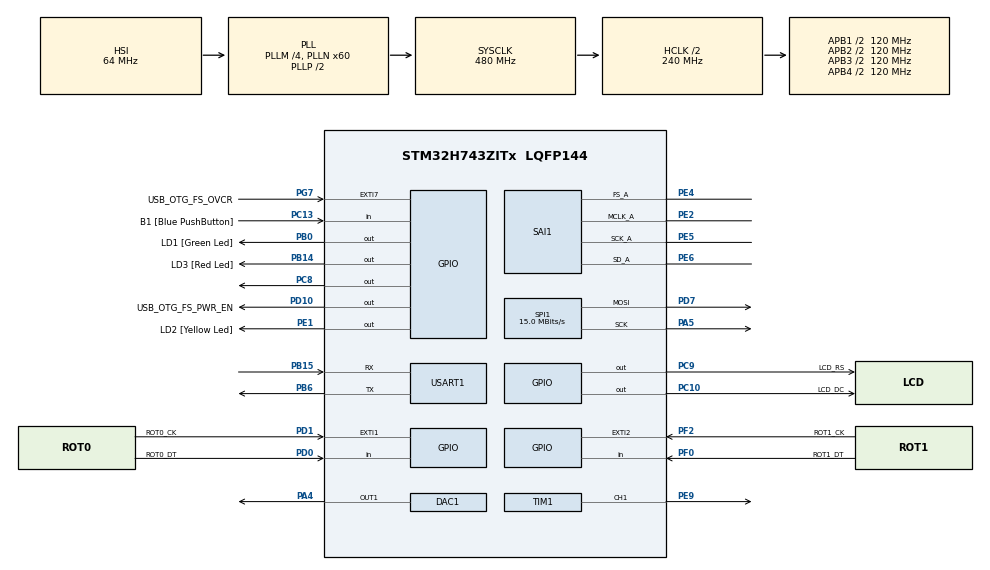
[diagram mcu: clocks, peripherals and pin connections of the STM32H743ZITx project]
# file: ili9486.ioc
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DAC1.DAC_Trigger-DAC_OUT1=DAC_TRIGGER_T6_TRGO
Dma.DAC1_CH1.2.Direction=DMA_MEMORY_TO_PERIPH
Dma.DAC1_CH1.2.EventEnable=DISABLE
Dma.DAC1_CH1.2.FIFOMode=DMA_FIFOMODE_DISABLE
Dma.DAC1_CH1.2.Instance=DMA1_Stream1
Dma.DAC1_CH1.2.MemDataAlignment=DMA_MDATAALIGN_HALFWORD
Dma.DAC1_CH1.2.MemInc=DMA_MINC_ENABLE
Dma.DAC1_CH1.2.Mode=DMA_CIRCULAR
Dma.DAC1_CH1.2.PeriphDataAlignment=DMA_PDATAALIGN_HALFWORD
Dma.DAC1_CH1.2.PeriphInc=DMA_PINC_DISABLE
Dma.DAC1_CH1.2.Polarity=HAL_DMAMUX_REQ_GEN_RISING
Dma.DAC1_CH1.2.Priority=DMA_PRIORITY_LOW
Dma.DAC1_CH1.2.RequestNumber=1
Dma.DAC1_CH1.2.SignalID=NONE
Dma.DAC1_CH1.2.SyncEnable=DISABLE
Dma.DAC1_CH1.2.SyncPolarity=HAL_DMAMUX_SYNC_NO_EVENT
Dma.DAC1_CH1.2.SyncRequestNumber=1
Dma.DAC1_CH1.2.SyncSignalID=NONE
Dma.Request0=SPI1_TX
Dma.Request1=SAI1_A
Dma.Request2=DAC1_CH1
Dma.SAI1_A.1.Direction=DMA_PERIPH_TO_MEMORY
Dma.SAI1_A.1.EventEnable=DISABLE
Dma.SAI1_A.1.FIFOMode=DMA_FIFOMODE_ENABLE
Dma.SAI1_A.1.FIFOThreshold=DMA_FIFO_THRESHOLD_1QUARTERFULL
Dma.SAI1_A.1.Instance=DMA2_Stream0
Dma.SAI1_A.1.MemBurst=DMA_MBURST_SINGLE
Dma.SAI1_A.1.MemDataAlignment=DMA_MDATAALIGN_WORD
Dma.SAI1_A.1.MemInc=DMA_MINC_ENABLE
Dma.SAI1_A.1.Mode=DMA_CIRCULAR
Dma.SAI1_A.1.PeriphBurst=DMA_PBURST_SINGLE
Dma.SAI1_A.1.PeriphDataAlignment=DMA_PDATAALIGN_WORD
Dma.SAI1_A.1.PeriphInc=DMA_PINC_DISABLE
Dma.SAI1_A.1.Polarity=HAL_DMAMUX_REQ_GEN_RISING
Dma.SAI1_A.1.Priority=DMA_PRIORITY_LOW
Dma.SAI1_A.1.RequestNumber=1
Dma.SAI1_A.1.SignalID=NONE
Dma.SAI1_A.1.SyncEnable=DISABLE
Dma.SAI1_A.1.SyncPolarity=HAL_DMAMUX_SYNC_NO_EVENT
Dma.SAI1_A.1.SyncRequestNumber=1
Dma.SAI1_A.1.SyncSignalID=NONE
Dma.SPI1_TX.0.Direction=DMA_MEMORY_TO_PERIPH
Dma.SPI1_TX.0.EventEnable=DISABLE
Dma.SPI1_TX.0.FIFOMode=DMA_FIFOMODE_ENABLE
Dma.SPI1_TX.0.FIFOThreshold=DMA_FIFO_THRESHOLD_1QUARTERFULL
Dma.SPI1_TX.0.Instance=DMA1_Stream0
Dma.SPI1_TX.0.MemBurst=DMA_MBURST_INC4
Dma.SPI1_TX.0.MemDataAlignment=DMA_MDATAALIGN_BYTE
Dma.SPI1_TX.0.MemInc=DMA_MINC_ENABLE
Dma.SPI1_TX.0.Mode=DMA_NORMAL
Dma.SPI1_TX.0.PeriphBurst=DMA_PBURST_SINGLE
Dma.SPI1_TX.0.PeriphDataAlignment=DMA_PDATAALIGN_BYTE
Dma.SPI1_TX.0.PeriphInc=DMA_PINC_DISABLE
Dma.SPI1_TX.0.Polarity=HAL_DMAMUX_REQ_GEN_RISING
Dma.SPI1_TX.0.Priority=DMA_PRIORITY_LOW
Dma.SPI1_TX.0.RequestNumber=1
Dma.SPI1_TX.0.SignalID=NONE
Dma.SPI1_TX.0.SyncEnable=DISABLE
Dma.SPI1_TX.0.SyncPolarity=HAL_DMAMUX_SYNC_NO_EVENT
Dma.SPI1_TX.0.SyncRequestNumber=1
Dma.SPI1_TX.0.SyncSignalID=NONE
Mcu.Family=STM32H7
Mcu.Name=STM32H743ZITx
Mcu.Package=LQFP144
Mdma.MDMA_Channel0.Request0=SW
Mdma.MDMA_Channel0.RequestsNb=1
Mdma.MDMA_Channel0.SW.0.BlockCount=0
Mdma.MDMA_Channel0.SW.0.BlockDataLength=0
Mdma.MDMA_Channel0.SW.0.BufferTransferLength=32
Mdma.MDMA_Channel0.SW.0.CircularMode=MDMA_LINEAR_LIST
Mdma.MDMA_Channel0.SW.0.DataAlignment=MDMA_DATAALIGN_PACKENABLE
Mdma.MDMA_Channel0.SW.0.DestBlockAddressOffset=0
Mdma.MDMA_Channel0.SW.0.DestBurst=MDMA_DEST_BURST_SINGLE
Mdma.MDMA_Channel0.SW.0.DestDataSize=MDMA_DEST_DATASIZE_WORD
Mdma.MDMA_Channel0.SW.0.DestinationInc=MDMA_DEST_INC_WORD
Mdma.MDMA_Channel0.SW.0.DstAddress=0
Mdma.MDMA_Channel0.SW.0.Endianness=MDMA_LITTLE_ENDIANNESS_PRESERVE
Mdma.MDMA_Channel0.SW.0.Instance=MDMA_Channel0
Mdma.MDMA_Channel0.SW.0.MaskAddress=0
Mdma.MDMA_Channel0.SW.0.MaskData=0
Mdma.MDMA_Channel0.SW.0.Priority=MDMA_PRIORITY_LOW
Mdma.MDMA_Channel0.SW.0.Rank=First
Mdma.MDMA_Channel0.SW.0.SourceBlockAddressOffset=0
Mdma.MDMA_Channel0.SW.0.SourceBurst=MDMA_SOURCE_BURST_SINGLE
Mdma.MDMA_Channel0.SW.0.SourceDataSize=MDMA_SRC_DATASIZE_WORD
Mdma.MDMA_Channel0.SW.0.SourceInc=MDMA_SRC_INC_DOUBLEWORD
Mdma.MDMA_Channel0.SW.0.SrcAddress=0
Mdma.MDMA_Channel0.SW.0.TransferTriggerMode=MDMA_BLOCK_TRANSFER
Mdma.MDMA_Channel1.Request0=SW
Mdma.MDMA_Channel1.RequestsNb=1
Mdma.MDMA_Channel1.SW.0.BlockCount=0
Mdma.MDMA_Channel1.SW.0.BlockDataLength=0
Mdma.MDMA_Channel1.SW.0.BufferTransferLength=32
Mdma.MDMA_Channel1.SW.0.CircularMode=MDMA_LINEAR_LIST
Mdma.MDMA_Channel1.SW.0.DataAlignment=MDMA_DATAALIGN_PACKENABLE
Mdma.MDMA_Channel1.SW.0.DestBlockAddressOffset=0
Mdma.MDMA_Channel1.SW.0.DestBurst=MDMA_DEST_BURST_SINGLE
Mdma.MDMA_Channel1.SW.0.DestDataSize=MDMA_DEST_DATASIZE_WORD
Mdma.MDMA_Channel1.SW.0.DestinationInc=MDMA_DEST_INC_WORD
Mdma.MDMA_Channel1.SW.0.DstAddress=0
Mdma.MDMA_Channel1.SW.0.Endianness=MDMA_LITTLE_ENDIANNESS_PRESERVE
Mdma.MDMA_Channel1.SW.0.Instance=MDMA_Channel1
Mdma.MDMA_Channel1.SW.0.MaskAddress=0
Mdma.MDMA_Channel1.SW.0.MaskData=0
Mdma.MDMA_Channel1.SW.0.Priority=MDMA_PRIORITY_LOW
Mdma.MDMA_Channel1.SW.0.Rank=First
Mdma.MDMA_Channel1.SW.0.SourceBlockAddressOffset=0
Mdma.MDMA_Channel1.SW.0.SourceBurst=MDMA_SOURCE_BURST_SINGLE
Mdma.MDMA_Channel1.SW.0.SourceDataSize=MDMA_SRC_DATASIZE_WORD
Mdma.MDMA_Channel1.SW.0.SourceInc=MDMA_SRC_INC_DOUBLEWORD
Mdma.MDMA_Channel1.SW.0.SrcAddress=0
Mdma.MDMA_Channel1.SW.0.TransferTriggerMode=MDMA_BLOCK_TRANSFER
Mdma.RequestSet0=MDMA_Channel0
Mdma.RequestSet1=MDMA_Channel1
Mdma.RequestSetsNb=2
NVIC.DMA1_Stream0_IRQn=true\:0\:0\:false\:false\:true\:false\:true
NVIC.DMA1_Stream1_IRQn=true\:0\:0\:false\:false\:true\:false\:true
NVIC.DMA2_Stream0_IRQn=true\:0\:0\:false\:false\:true\:false\:true
NVIC.PriorityGroup=NVIC_PRIORITYGROUP_4
NVIC.SPI1_IRQn=true\:0\:0\:false\:false\:true\:false\:true
PA1.Signal=ETH_REF_CLK
PA11.Signal=USB_OTG_FS_DM
PA12.Signal=USB_OTG_FS_DP
PA13\ (JTMS/SWDIO).Mode=Serial_Wire
PA13\ (JTMS/SWDIO).Signal=DEBUG_JTMS-SWDIO
PA14\ (JTCK/SWCLK).Mode=Serial_Wire
PA14\ (JTCK/SWCLK).Signal=DEBUG_JTCK-SWCLK
PA2.Signal=ETH_MDIO
PA4.Signal=COMP_DAC11_group
PA5.GPIO_PuPd=GPIO_NOPULL
PA5.GPIO_Speed=GPIO_SPEED_FREQ_HIGH
PA5.Mode=TX_Only_Simplex_Unidirect_Master
PA5.Signal=SPI1_SCK
PA7.Signal=ETH_CRS_DV
PA8.Signal=USB_OTG_FS_SOF
PA9.Signal=USB_OTG_FS_VBUS
PB0.GPIO_Label=LD1 [Green Led]
PB0.Signal=GPIO_Output
PB13.Signal=ETH_TXD1
PB14.GPIO_Label=LD3 [Red Led]
PB14.Signal=GPIO_Output
PB15.Mode=Asynchronous
PB15.Signal=USART1_RX
PB6.Mode=Asynchronous
PB6.Signal=USART1_TX
PC1.Signal=ETH_MDC
PC10.GPIO_Label=LCD_DC
PC10.Signal=GPIO_Output
PC13.GPIO_Label=B1 [Blue PushButton]
PC13.Signal=GPIO_Input
PC14-OSC32_IN\ (OSC32_IN).Signal=RCC_OSC32_IN
PC15-OSC32_OUT\ (OSC32_OUT).Signal=RCC_OSC32_OUT
PC4.Signal=ETH_RXD0
PC5.Signal=ETH_RXD1
PC8.Signal=GPIO_Output
PC9.GPIO_Label=LCD_RS
PC9.Signal=GPIO_Output
PD0.GPIO_Label=ROT0_DT
PD0.Signal=GPIO_Input
PD1.GPIO_Label=ROT0_CK
PD1.GPIO_ModeDefaultEXTI=GPIO_MODE_IT_FALLING
PD1.Signal=GPXTI1
PD10.GPIO_Label=USB_OTG_FS_PWR_EN
PD10.Signal=GPIO_Output
PD7.GPIO_PuPd=GPIO_NOPULL
PD7.GPIO_Speed=GPIO_SPEED_FREQ_HIGH
PD7.Mode=TX_Only_Simplex_Unidirect_Master
PD7.Signal=SPI1_MOSI
PD8.GPIO_Label=STLINK_RX
PD8.Signal=USART3_TX
PD9.GPIO_Label=STLINK_TX
PD9.Signal=USART3_RX
PE1.GPIO_Label=LD2 [Yellow Led]
PE1.Signal=GPIO_Output
PE2.Mode=SAI_A_MasterWithClock
PE2.Signal=SAI1_MCLK_A
PE4.Mode=SAI_A_MasterWithClock
PE4.Signal=SAI1_FS_A
PE5.Mode=SAI_A_MasterWithClock
PE5.Signal=SAI1_SCK_A
PE6.Mode=SAI_A_MasterWithClock
PE6.Signal=SAI1_SD_A
PE9.Signal=S_TIM1_CH1
PF0.GPIO_Label=ROT1_DT
PF0.Signal=GPIO_Input
PF2.GPIO_Label=ROT1_CK
PF2.GPIO_ModeDefaultEXTI=GPIO_MODE_IT_FALLING
PF2.Signal=GPXTI2
PG11.Signal=ETH_TX_EN
PG13.Signal=ETH_TXD0
PG7.GPIO_Label=USB_OTG_FS_OVCR
PG7.Signal=GPXTI7
PH0-OSC_IN\ (PH0).Signal=RCC_OSC_IN
PH1-OSC_OUT\ (PH1).Signal=RCC_OSC_OUT
ProjectManager.HeapSize=0x200
ProjectManager.StackSize=0x400
ProjectManager.TargetToolchain=Makefile
RCC.ADCFreq_Value=129000000
RCC.APB1Freq_Value=120000000
RCC.APB2Freq_Value=120000000
RCC.APB3Freq_Value=120000000
RCC.APB4Freq_Value=120000000
RCC.CortexFreq_Value=480000000
RCC.D1PPRE=RCC_APB3_DIV2
RCC.D2PPRE1=RCC_APB1_DIV2
RCC.D2PPRE2=RCC_APB2_DIV2
RCC.D3PPRE=RCC_APB4_DIV2
RCC.DIVM1=4
RCC.DIVN1=60
RCC.HCLKFreq_Value=240000000
RCC.HPRE=RCC_HCLK_DIV2
RCC.PLL2FRACN=0
RCC.PLL3FRACN=0
RCC.PLLFRACN=0
RCC.SAI1CLockSelection=RCC_SAI1CLKSOURCE_PLL3
RCC.SYSCLKFreq_VALUE=480000000
RCC.SYSCLKSource=RCC_SYSCLKSOURCE_PLLCLK
RCC.USBFreq_Value=480000000
SAI1.AudioFrequency-SAI_A_MasterWithClock=SAI_AUDIO_FREQUENCY_48K
SAI1.AudioMode-SAI_A_MasterWithClock=SAI_MODEMASTER_RX
SAI1.BasicDataSize-SAI_A_MasterWithClock=SAI_PROTOCOL_DATASIZE_24BIT
SAI1.BasicProtocol-SAI_A_MasterWithClock=SAI_I2S_MSBJUSTIFIED
SAI1.ErrorAudioFreq-SAI_A_MasterWithClock=4.97 %
SAI1.InitProtocol-SAI_A_MasterWithClock=Enable
SAI1.Instance-SAI_A_MasterWithClock=SAI$Index_Block_A
SAI1.MClockEnable-SAI_A_MasterWithClock=SAI_MASTERCLOCK_ENABLE
SAI1.RealAudioFreq-SAI_A_MasterWithClock=50.39 KHz
SAI1.VirtualMode-SAI_A_MasterWithClock=VM_MASTER
SAI1.VirtualProtocol-SAI_A_BASIC=VM_BASIC_PROTOCOL
SH.COMP_DAC11_group.0=DAC1_OUT1,DAC_OUT1
SH.S_TIM1_CH1.0=TIM1_CH1,Output Compare1 CH1
SPI1.BaudRatePrescaler=SPI_BAUDRATEPRESCALER_32
SPI1.CalculateBaudRate=15.0 MBits/s
SPI1.DataSize=SPI_DATASIZE_8BIT
SPI1.Direction=SPI_DIRECTION_2LINES_TXONLY
SPI1.Mode=SPI_MODE_MASTER
SPI1.VirtualType=VM_MASTER
TIM1.Channel-Output\ Compare1\ CH1=TIM_CHANNEL_1
TIM1.OCMode_1=TIM_OCMODE_TOGGLE
TIM1.Period=2500
TIM1.Prescaler=240
TIM1.Pulse-Output\ Compare1\ CH1=0
TIM1.RepetitionCounter=0
TIM1.TIM_MasterOutputTrigger=TIM_TRGO_OC1REF
TIM1.TIM_MasterSlaveMode=TIM_MASTERSLAVEMODE_DISABLE
TIM6.Period=1000
TIM6.Prescaler=10
TIM6.TIM_MasterOutputTrigger=TIM_TRGO_UPDATE
USART1.VirtualMode-Asynchronous=VM_ASYNC
VP_SAI1_VP_$IpInstance_SAIA_SAI_BASIC.Mode=SAI_A_BASIC
VP_TIM1_VS_ClockSourceINT.Mode=Internal
VP_TIM6_VS_ClockSourceINT.Mode=Enable_Timer
board=NUCLEO-H743ZI2

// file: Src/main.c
/* USER CODE BEGIN Header */
/**
  ******************************************************************************
  * @file           : main.c
  * @brief          : Main program body
  ******************************************************************************
  * @attention
  *
  * <h2><center>&copy; Copyright (c) 2019 STMicroelectronics.
  * All rights reserved.</center></h2>
  *
  * This software component is licensed by ST under BSD 3-Clause license,
  * the "License"; You may not use this file except in compliance with the
  * License. You may obtain a copy of the License at:
  *                        opensource.org/licenses/BSD-3-Clause
  *
  ******************************************************************************
  */
/* USER CODE END Header */

#include "main.h"

DAC_HandleTypeDef hdac1;
DMA_HandleTypeDef hdma_dac1_ch1;

SAI_HandleTypeDef hsai_BlockA1;
DMA_HandleTypeDef hdma_sai1_a;

SPI_HandleTypeDef hspi1;
DMA_HandleTypeDef hdma_spi1_tx;

TIM_HandleTypeDef htim1;
TIM_HandleTypeDef htim6;

UART_HandleTypeDef huart1;

MDMA_HandleTypeDef hmdma_mdma_channel40_sw_0;
MDMA_HandleTypeDef hmdma_mdma_channel41_sw_0;

void SystemClock_Config(void);
static void MX_GPIO_Init(void);
static void MX_DMA_Init(void);
static void MX_MDMA_Init(void);
static void MX_SPI1_Init(void);
static void MX_USART1_UART_Init(void);
static void MX_SAI1_Init(void);
static void MX_TIM1_Init(void);
static void MX_DAC1_Init(void);
static void MX_TIM6_Init(void);

/* USER CODE BEGIN 0 */
static void CPU_CACHE_Enable(void)
{
  /* Enable I-Cache */
  SCB_EnableICache();

  /* Enable D-Cache */
  SCB_EnableDCache();
}

static void EXTI_Init(void);
static void TIM_Init(void);
/* USER CODE END 0 */

int main(void)
{

  /* MCU Configuration--------------------------------------------------------*/

  /* Reset of all peripherals, Initializes the Flash interface and the Systick. */
  HAL_Init();

  /* Configure the system clock */
  SystemClock_Config();

  /* Initialize all configured peripherals */
  MX_GPIO_Init();
  MX_DMA_Init();
  MX_MDMA_Init();
  MX_SPI1_Init();
  MX_USART1_UART_Init();
  MX_SAI1_Init();
  MX_TIM1_Init();
  MX_DAC1_Init();
  MX_TIM6_Init();
  /* USER CODE BEGIN 2 */

  CPU_CACHE_Enable();
  EXTI_Init();
  TIM_Init();

  main_init();

  /* USER CODE END 2 */

  /* Infinite loop */
  /* USER CODE BEGIN WHILE */

  main_loop();

    /* USER CODE END WHILE */

}

void SystemClock_Config(void)
{
  RCC_OscInitTypeDef RCC_OscInitStruct = {0};
  RCC_ClkInitTypeDef RCC_ClkInitStruct = {0};
  RCC_PeriphCLKInitTypeDef PeriphClkInitStruct = {0};

  /** Supply configuration update enable
  */
  HAL_PWREx_ConfigSupply(PWR_LDO_SUPPLY);
  /** Configure the main internal regulator output voltage
  */
  __HAL_PWR_VOLTAGESCALING_CONFIG(PWR_REGULATOR_VOLTAGE_SCALE0);

  while(!__HAL_PWR_GET_FLAG(PWR_FLAG_VOSRDY)) {}
  /** Macro to configure the PLL clock source
  */
  __HAL_RCC_PLL_PLLSOURCE_CONFIG(RCC_PLLSOURCE_HSI);
  /** Initializes the CPU, AHB and APB busses clocks
  */
  RCC_OscInitStruct.OscillatorType = RCC_OSCILLATORTYPE_HSI;
  RCC_OscInitStruct.HSIState = RCC_HSI_DIV1;
  RCC_OscInitStruct.HSICalibrationValue = RCC_HSICALIBRATION_DEFAULT;
  RCC_OscInitStruct.PLL.PLLState = RCC_PLL_ON;
  RCC_OscInitStruct.PLL.PLLSource = RCC_PLLSOURCE_HSI;
  RCC_OscInitStruct.PLL.PLLM = 4;
  RCC_OscInitStruct.PLL.PLLN = 60;
  RCC_OscInitStruct.PLL.PLLP = 2;
  RCC_OscInitStruct.PLL.PLLQ = 2;
  RCC_OscInitStruct.PLL.PLLR = 2;
  RCC_OscInitStruct.PLL.PLLRGE = RCC_PLL1VCIRANGE_3;
  RCC_OscInitStruct.PLL.PLLVCOSEL = RCC_PLL1VCOWIDE;
  RCC_OscInitStruct.PLL.PLLFRACN = 0;
  if (HAL_RCC_OscConfig(&RCC_OscInitStruct) != HAL_OK)
  {
    Error_Handler();
  }
  /** Initializes the CPU, AHB and APB busses clocks
  */
  RCC_ClkInitStruct.ClockType = RCC_CLOCKTYPE_HCLK|RCC_CLOCKTYPE_SYSCLK
                              |RCC_CLOCKTYPE_PCLK1|RCC_CLOCKTYPE_PCLK2
                              |RCC_CLOCKTYPE_D3PCLK1|RCC_CLOCKTYPE_D1PCLK1;
  RCC_ClkInitStruct.SYSCLKSource = RCC_SYSCLKSOURCE_PLLCLK;
  RCC_ClkInitStruct.SYSCLKDivider = RCC_SYSCLK_DIV1;
  RCC_ClkInitStruct.AHBCLKDivider = RCC_HCLK_DIV2;
  RCC_ClkInitStruct.APB3CLKDivider = RCC_APB3_DIV2;
  RCC_ClkInitStruct.APB1CLKDivider = RCC_APB1_DIV2;
  RCC_ClkInitStruct.APB2CLKDivider = RCC_APB2_DIV2;
  RCC_ClkInitStruct.APB4CLKDivider = RCC_APB4_DIV2;

  if (HAL_RCC_ClockConfig(&RCC_ClkInitStruct, FLASH_LATENCY_4) != HAL_OK)
  {
    Error_Handler();
  }
  PeriphClkInitStruct.PeriphClockSelection = RCC_PERIPHCLK_USART1|RCC_PERIPHCLK_SPI1
                              |RCC_PERIPHCLK_SAI1;
  PeriphClkInitStruct.PLL3.PLL3M = 32;
  PeriphClkInitStruct.PLL3.PLL3N = 129;
  PeriphClkInitStruct.PLL3.PLL3P = 2;
  PeriphClkInitStruct.PLL3.PLL3Q = 2;
  PeriphClkInitStruct.PLL3.PLL3R = 2;
  PeriphClkInitStruct.PLL3.PLL3RGE = RCC_PLL3VCIRANGE_1;
  PeriphClkInitStruct.PLL3.PLL3VCOSEL = RCC_PLL3VCOWIDE;
  PeriphClkInitStruct.PLL3.PLL3FRACN = 0;
  PeriphClkInitStruct.Sai1ClockSelection = RCC_SAI1CLKSOURCE_PLL3;
  PeriphClkInitStruct.Spi123ClockSelection = RCC_SPI123CLKSOURCE_PLL;
  PeriphClkInitStruct.Usart16ClockSelection = RCC_USART16CLKSOURCE_D2PCLK2;
  if (HAL_RCCEx_PeriphCLKConfig(&PeriphClkInitStruct) != HAL_OK)
  {
    Error_Handler();
  }
}

static void MX_DAC1_Init(void)
{

  DAC_ChannelConfTypeDef sConfig = {0};

  /** DAC Initialization
  */
  hdac1.Instance = DAC1;
  if (HAL_DAC_Init(&hdac1) != HAL_OK)
  {
    Error_Handler();
  }
  /** DAC channel OUT1 config
  */
  sConfig.DAC_SampleAndHold = DAC_SAMPLEANDHOLD_DISABLE;
  sConfig.DAC_Trigger = DAC_TRIGGER_T6_TRGO;
  sConfig.DAC_OutputBuffer = DAC_OUTPUTBUFFER_ENABLE;
  sConfig.DAC_ConnectOnChipPeripheral = DAC_CHIPCONNECT_DISABLE;
  sConfig.DAC_UserTrimming = DAC_TRIMMING_FACTORY;
  if (HAL_DAC_ConfigChannel(&hdac1, &sConfig, DAC_CHANNEL_1) != HAL_OK)
  {
    Error_Handler();
  }

}

static void MX_SAI1_Init(void)
{

  hsai_BlockA1.Instance = SAI1_Block_A;
  hsai_BlockA1.Init.AudioMode = SAI_MODEMASTER_RX;
  hsai_BlockA1.Init.Synchro = SAI_ASYNCHRONOUS;
  hsai_BlockA1.Init.OutputDrive = SAI_OUTPUTDRIVE_DISABLE;
  hsai_BlockA1.Init.NoDivider = SAI_MASTERDIVIDER_ENABLE;
  hsai_BlockA1.Init.FIFOThreshold = SAI_FIFOTHRESHOLD_EMPTY;
  hsai_BlockA1.Init.AudioFrequency = SAI_AUDIO_FREQUENCY_48K;
  hsai_BlockA1.Init.SynchroExt = SAI_SYNCEXT_DISABLE;
  hsai_BlockA1.Init.MonoStereoMode = SAI_STEREOMODE;
  hsai_BlockA1.Init.CompandingMode = SAI_NOCOMPANDING;
  if (HAL_SAI_InitProtocol(&hsai_BlockA1, SAI_I2S_MSBJUSTIFIED, SAI_PROTOCOL_DATASIZE_24BIT, 2) != HAL_OK)
  {
    Error_Handler();
  }
  /* USER CODE BEGIN SAI1_Init 2 */
  hsai_BlockA1.Instance->FRCR |= (1<<18); // set frame offset bit
  /* USER CODE END SAI1_Init 2 */

}

static void MX_SPI1_Init(void)
{

  /* SPI1 parameter configuration*/
  hspi1.Instance = SPI1;
  hspi1.Init.Mode = SPI_MODE_MASTER;
  hspi1.Init.Direction = SPI_DIRECTION_2LINES_TXONLY;
  hspi1.Init.DataSize = SPI_DATASIZE_8BIT;
  hspi1.Init.CLKPolarity = SPI_POLARITY_LOW;
  hspi1.Init.CLKPhase = SPI_PHASE_1EDGE;
  hspi1.Init.NSS = SPI_NSS_SOFT;
  hspi1.Init.BaudRatePrescaler = SPI_BAUDRATEPRESCALER_32;
  hspi1.Init.FirstBit = SPI_FIRSTBIT_MSB;
  hspi1.Init.TIMode = SPI_TIMODE_DISABLE;
  hspi1.Init.CRCCalculation = SPI_CRCCALCULATION_DISABLE;
  hspi1.Init.CRCPolynomial = 0x0;
  hspi1.Init.NSSPMode = SPI_NSS_PULSE_ENABLE;
  hspi1.Init.NSSPolarity = SPI_NSS_POLARITY_LOW;
  hspi1.Init.FifoThreshold = SPI_FIFO_THRESHOLD_01DATA;
  hspi1.Init.TxCRCInitializationPattern = SPI_CRC_INITIALIZATION_ALL_ZERO_PATTERN;
  hspi1.Init.RxCRCInitializationPattern = SPI_CRC_INITIALIZATION_ALL_ZERO_PATTERN;
  hspi1.Init.MasterSSIdleness = SPI_MASTER_SS_IDLENESS_00CYCLE;
  hspi1.Init.MasterInterDataIdleness = SPI_MASTER_INTERDATA_IDLENESS_00CYCLE;
  hspi1.Init.MasterReceiverAutoSusp = SPI_MASTER_RX_AUTOSUSP_DISABLE;
  hspi1.Init.MasterKeepIOState = SPI_MASTER_KEEP_IO_STATE_DISABLE;
  hspi1.Init.IOSwap = SPI_IO_SWAP_DISABLE;
  if (HAL_SPI_Init(&hspi1) != HAL_OK)
  {
    Error_Handler();
  }

}

static void MX_TIM1_Init(void)
{

  TIM_ClockConfigTypeDef sClockSourceConfig = {0};
  TIM_MasterConfigTypeDef sMasterConfig = {0};
  TIM_OC_InitTypeDef sConfigOC = {0};
  TIM_BreakDeadTimeConfigTypeDef sBreakDeadTimeConfig = {0};

  htim1.Instance = TIM1;
  htim1.Init.Prescaler = 240;
  htim1.Init.CounterMode = TIM_COUNTERMODE_UP;
  htim1.Init.Period = 2500;
  htim1.Init.ClockDivision = TIM_CLOCKDIVISION_DIV1;
  htim1.Init.RepetitionCounter = 0;
  htim1.Init.AutoReloadPreload = TIM_AUTORELOAD_PRELOAD_DISABLE;
  if (HAL_TIM_Base_Init(&htim1) != HAL_OK)
  {
    Error_Handler();
  }
  sClockSourceConfig.ClockSource = TIM_CLOCKSOURCE_INTERNAL;
  if (HAL_TIM_ConfigClockSource(&htim1, &sClockSourceConfig) != HAL_OK)
  {
    Error_Handler();
  }
  if (HAL_TIM_OC_Init(&htim1) != HAL_OK)
  {
    Error_Handler();
  }
  sMasterConfig.MasterOutputTrigger = TIM_TRGO_OC1REF;
  sMasterConfig.MasterOutputTrigger2 = TIM_TRGO2_RESET;
  sMasterConfig.MasterSlaveMode = TIM_MASTERSLAVEMODE_DISABLE;
  if (HAL_TIMEx_MasterConfigSynchronization(&htim1, &sMasterConfig) != HAL_OK)
  {
    Error_Handler();
  }
  sConfigOC.OCMode = TIM_OCMODE_TOGGLE;
  sConfigOC.Pulse = 0;
  sConfigOC.OCPolarity = TIM_OCPOLARITY_HIGH;
  sConfigOC.OCNPolarity = TIM_OCNPOLARITY_HIGH;
  sConfigOC.OCFastMode = TIM_OCFAST_DISABLE;
  sConfigOC.OCIdleState = TIM_OCIDLESTATE_RESET;
  sConfigOC.OCNIdleState = TIM_OCNIDLESTATE_RESET;
  if (HAL_TIM_OC_ConfigChannel(&htim1, &sConfigOC, TIM_CHANNEL_1) != HAL_OK)
  {
    Error_Handler();
  }
  sBreakDeadTimeConfig.OffStateRunMode = TIM_OSSR_DISABLE;
  sBreakDeadTimeConfig.OffStateIDLEMode = TIM_OSSI_DISABLE;
  sBreakDeadTimeConfig.LockLevel = TIM_LOCKLEVEL_OFF;
  sBreakDeadTimeConfig.DeadTime = 0;
  sBreakDeadTimeConfig.BreakState = TIM_BREAK_DISABLE;
  sBreakDeadTimeConfig.BreakPolarity = TIM_BREAKPOLARITY_HIGH;
  sBreakDeadTimeConfig.BreakFilter = 0;
  sBreakDeadTimeConfig.Break2State = TIM_BREAK2_DISABLE;
  sBreakDeadTimeConfig.Break2Polarity = TIM_BREAK2POLARITY_HIGH;
  sBreakDeadTimeConfig.Break2Filter = 0;
  sBreakDeadTimeConfig.AutomaticOutput = TIM_AUTOMATICOUTPUT_DISABLE;
  if (HAL_TIMEx_ConfigBreakDeadTime(&htim1, &sBreakDeadTimeConfig) != HAL_OK)
  {
    Error_Handler();
  }
  HAL_TIM_MspPostInit(&htim1);

}

static void MX_TIM6_Init(void)
{

  TIM_MasterConfigTypeDef sMasterConfig = {0};

  htim6.Instance = TIM6;
  htim6.Init.Prescaler = 10;
  htim6.Init.CounterMode = TIM_COUNTERMODE_UP;
  htim6.Init.Period = 500;
  htim6.Init.AutoReloadPreload = TIM_AUTORELOAD_PRELOAD_DISABLE;
  if (HAL_TIM_Base_Init(&htim6) != HAL_OK)
  {
    Error_Handler();
  }
  sMasterConfig.MasterOutputTrigger = TIM_TRGO_UPDATE;
  sMasterConfig.MasterSlaveMode = TIM_MASTERSLAVEMODE_DISABLE;
  if (HAL_TIMEx_MasterConfigSynchronization(&htim6, &sMasterConfig) != HAL_OK)
  {
    Error_Handler();
  }

}

static void MX_USART1_UART_Init(void)
{

  huart1.Instance = USART1;
  huart1.Init.BaudRate = 115200;
  huart1.Init.WordLength = UART_WORDLENGTH_8B;
  huart1.Init.StopBits = UART_STOPBITS_1;
  huart1.Init.Parity = UART_PARITY_NONE;
  huart1.Init.Mode = UART_MODE_TX_RX;
  huart1.Init.HwFlowCtl = UART_HWCONTROL_NONE;
  huart1.Init.OverSampling = UART_OVERSAMPLING_16;
  huart1.Init.OneBitSampling = UART_ONE_BIT_SAMPLE_DISABLE;
  huart1.Init.ClockPrescaler = UART_PRESCALER_DIV1;
  huart1.AdvancedInit.AdvFeatureInit = UART_ADVFEATURE_NO_INIT;
  if (HAL_UART_Init(&huart1) != HAL_OK)
  {
    Error_Handler();
  }
  if (HAL_UARTEx_SetTxFifoThreshold(&huart1, UART_TXFIFO_THRESHOLD_1_8) != HAL_OK)
  {
    Error_Handler();
  }
  if (HAL_UARTEx_SetRxFifoThreshold(&huart1, UART_RXFIFO_THRESHOLD_1_8) != HAL_OK)
  {
    Error_Handler();
  }
  if (HAL_UARTEx_DisableFifoMode(&huart1) != HAL_OK)
  {
    Error_Handler();
  }

}

static void MX_DMA_Init(void)
{

  /* DMA controller clock enable */
  __HAL_RCC_DMA1_CLK_ENABLE();
  __HAL_RCC_DMA2_CLK_ENABLE();

  /* DMA interrupt init */
  /* DMA1_Stream0_IRQn interrupt configuration */
  HAL_NVIC_SetPriority(DMA1_Stream0_IRQn, 4, 1);
  HAL_NVIC_EnableIRQ(DMA1_Stream0_IRQn);
  /* DMA1_Stream1_IRQn interrupt configuration */
  HAL_NVIC_SetPriority(DMA1_Stream1_IRQn, 5, 1);
  HAL_NVIC_EnableIRQ(DMA1_Stream1_IRQn);
  /* DMA2_Stream0_IRQn interrupt configuration */
  HAL_NVIC_SetPriority(DMA2_Stream0_IRQn, 0, 0);
  HAL_NVIC_EnableIRQ(DMA2_Stream0_IRQn);

}

/**
  * Enable MDMA controller clock
  * Configure MDMA for global transfers
  *   hmdma_mdma_channel40_sw_0
  *   hmdma_mdma_channel41_sw_0
  */
static void MX_MDMA_Init(void)
{

  /* MDMA controller clock enable */
  __HAL_RCC_MDMA_CLK_ENABLE();
  /* Local variables */

  /* Configure MDMA channel MDMA_Channel0 */
  /* Configure MDMA request hmdma_mdma_channel40_sw_0 on MDMA_Channel0 */
  hmdma_mdma_channel40_sw_0.Instance = MDMA_Channel0;
  hmdma_mdma_channel40_sw_0.Init.Request = MDMA_REQUEST_SW;
  hmdma_mdma_channel40_sw_0.Init.TransferTriggerMode = MDMA_BLOCK_TRANSFER;
  hmdma_mdma_channel40_sw_0.Init.Priority = MDMA_PRIORITY_LOW;
  hmdma_mdma_channel40_sw_0.Init.Endianness = MDMA_LITTLE_ENDIANNESS_PRESERVE;
  hmdma_mdma_channel40_sw_0.Init.SourceInc = MDMA_SRC_INC_DOUBLEWORD;
  hmdma_mdma_channel40_sw_0.Init.DestinationInc = MDMA_DEST_INC_WORD;
  hmdma_mdma_channel40_sw_0.Init.SourceDataSize = MDMA_SRC_DATASIZE_WORD;
  hmdma_mdma_channel40_sw_0.Init.DestDataSize = MDMA_DEST_DATASIZE_WORD;
  hmdma_mdma_channel40_sw_0.Init.DataAlignment = MDMA_DATAALIGN_PACKENABLE;
  hmdma_mdma_channel40_sw_0.Init.BufferTransferLength = 32;
  hmdma_mdma_channel40_sw_0.Init.SourceBurst = MDMA_SOURCE_BURST_SINGLE;
  hmdma_mdma_channel40_sw_0.Init.DestBurst = MDMA_DEST_BURST_SINGLE;
  hmdma_mdma_channel40_sw_0.Init.SourceBlockAddressOffset = 0;
  hmdma_mdma_channel40_sw_0.Init.DestBlockAddressOffset = 0;
  if (HAL_MDMA_Init(&hmdma_mdma_channel40_sw_0) != HAL_OK)
  {
    Error_Handler();
  }

  /* Configure MDMA channel MDMA_Channel1 */
  /* Configure MDMA request hmdma_mdma_channel41_sw_0 on MDMA_Channel1 */
  hmdma_mdma_channel41_sw_0.Instance = MDMA_Channel1;
  hmdma_mdma_channel41_sw_0.Init.Request = MDMA_REQUEST_SW;
  hmdma_mdma_channel41_sw_0.Init.TransferTriggerMode = MDMA_BLOCK_TRANSFER;
  hmdma_mdma_channel41_sw_0.Init.Priority = MDMA_PRIORITY_LOW;
  hmdma_mdma_channel41_sw_0.Init.Endianness = MDMA_LITTLE_ENDIANNESS_PRESERVE;
  hmdma_mdma_channel41_sw_0.Init.SourceInc = MDMA_SRC_INC_DOUBLEWORD;
  hmdma_mdma_channel41_sw_0.Init.DestinationInc = MDMA_DEST_INC_WORD;
  hmdma_mdma_channel41_sw_0.Init.SourceDataSize = MDMA_SRC_DATASIZE_WORD;
  hmdma_mdma_channel41_sw_0.Init.DestDataSize = MDMA_DEST_DATASIZE_WORD;
  hmdma_mdma_channel41_sw_0.Init.DataAlignment = MDMA_DATAALIGN_PACKENABLE;
  hmdma_mdma_channel41_sw_0.Init.BufferTransferLength = 32;
  hmdma_mdma_channel41_sw_0.Init.SourceBurst = MDMA_SOURCE_BURST_SINGLE;
  hmdma_mdma_channel41_sw_0.Init.DestBurst = MDMA_DEST_BURST_SINGLE;
  hmdma_mdma_channel41_sw_0.Init.SourceBlockAddressOffset = 0;
  hmdma_mdma_channel41_sw_0.Init.DestBlockAddressOffset = 0;
  if (HAL_MDMA_Init(&hmdma_mdma_channel41_sw_0) != HAL_OK)
  {
    Error_Handler();
  }

}

static void MX_GPIO_Init(void)
{
  GPIO_InitTypeDef GPIO_InitStruct = {0};

  /* GPIO Ports Clock Enable */
  __HAL_RCC_GPIOE_CLK_ENABLE();
  __HAL_RCC_GPIOC_CLK_ENABLE();
  __HAL_RCC_GPIOF_CLK_ENABLE();
  __HAL_RCC_GPIOH_CLK_ENABLE();
  __HAL_RCC_GPIOA_CLK_ENABLE();
  __HAL_RCC_GPIOB_CLK_ENABLE();
  __HAL_RCC_GPIOD_CLK_ENABLE();
  __HAL_RCC_GPIOG_CLK_ENABLE();

  /*Configure GPIO pin Output Level */
  HAL_GPIO_WritePin(GPIOB, LD1_Pin|LD3_Pin, GPIO_PIN_RESET);

  /*Configure GPIO pin Output Level */
  HAL_GPIO_WritePin(USB_OTG_FS_PWR_EN_GPIO_Port, USB_OTG_FS_PWR_EN_Pin, GPIO_PIN_RESET);

  /*Configure GPIO pin Output Level */
  HAL_GPIO_WritePin(GPIOC, GPIO_PIN_8|LCD_RS_Pin|LCD_DC_Pin, GPIO_PIN_RESET);

  /*Configure GPIO pin Output Level */
  HAL_GPIO_WritePin(LD2_GPIO_Port, LD2_Pin, GPIO_PIN_RESET);

  /*Configure GPIO pin : B1_Pin */
  GPIO_InitStruct.Pin = B1_Pin;
  GPIO_InitStruct.Mode = GPIO_MODE_INPUT;
  GPIO_InitStruct.Pull = GPIO_NOPULL;
  HAL_GPIO_Init(B1_GPIO_Port, &GPIO_InitStruct);

  /*Configure GPIO pin : ROT1_DT_Pin */
  GPIO_InitStruct.Pin = ROT1_DT_Pin;
  GPIO_InitStruct.Mode = GPIO_MODE_INPUT;
  GPIO_InitStruct.Pull = GPIO_NOPULL;
  HAL_GPIO_Init(ROT1_DT_GPIO_Port, &GPIO_InitStruct);

  /*Configure GPIO pin : ROT1_CK_Pin */
  GPIO_InitStruct.Pin = ROT1_CK_Pin;
  GPIO_InitStruct.Mode = GPIO_MODE_IT_FALLING;
  GPIO_InitStruct.Pull = GPIO_NOPULL;
  HAL_GPIO_Init(ROT1_CK_GPIO_Port, &GPIO_InitStruct);

  /*Configure GPIO pins : PC1 PC4 PC5 */
  GPIO_InitStruct.Pin = GPIO_PIN_1|GPIO_PIN_4|GPIO_PIN_5;
  GPIO_InitStruct.Mode = GPIO_MODE_AF_PP;
  GPIO_InitStruct.Pull = GPIO_NOPULL;
  GPIO_InitStruct.Speed = GPIO_SPEED_FREQ_LOW;
  GPIO_InitStruct.Alternate = GPIO_AF11_ETH;
  HAL_GPIO_Init(GPIOC, &GPIO_InitStruct);

  /*Configure GPIO pins : PA1 PA2 PA7 */
  GPIO_InitStruct.Pin = GPIO_PIN_1|GPIO_PIN_2|GPIO_PIN_7;
  GPIO_InitStruct.Mode = GPIO_MODE_AF_PP;
  GPIO_InitStruct.Pull = GPIO_NOPULL;
  GPIO_InitStruct.Speed = GPIO_SPEED_FREQ_LOW;
  GPIO_InitStruct.Alternate = GPIO_AF11_ETH;
  HAL_GPIO_Init(GPIOA, &GPIO_InitStruct);

  /*Configure GPIO pins : LD1_Pin LD3_Pin */
  GPIO_InitStruct.Pin = LD1_Pin|LD3_Pin;
  GPIO_InitStruct.Mode = GPIO_MODE_OUTPUT_PP;
  GPIO_InitStruct.Pull = GPIO_NOPULL;
  GPIO_InitStruct.Speed = GPIO_SPEED_FREQ_LOW;
  HAL_GPIO_Init(GPIOB, &GPIO_InitStruct);

  /*Configure GPIO pin : PB13 */
  GPIO_InitStruct.Pin = GPIO_PIN_13;
  GPIO_InitStruct.Mode = GPIO_MODE_AF_PP;
  GPIO_InitStruct.Pull = GPIO_NOPULL;
  GPIO_InitStruct.Speed = GPIO_SPEED_FREQ_LOW;
  GPIO_InitStruct.Alternate = GPIO_AF11_ETH;
  HAL_GPIO_Init(GPIOB, &GPIO_InitStruct);

  /*Configure GPIO pins : STLINK_RX_Pin STLINK_TX_Pin */
  GPIO_InitStruct.Pin = STLINK_RX_Pin|STLINK_TX_Pin;
  GPIO_InitStruct.Mode = GPIO_MODE_AF_PP;
  GPIO_InitStruct.Pull = GPIO_NOPULL;
  GPIO_InitStruct.Speed = GPIO_SPEED_FREQ_LOW;
  GPIO_InitStruct.Alternate = GPIO_AF7_USART3;
  HAL_GPIO_Init(GPIOD, &GPIO_InitStruct);

  /*Configure GPIO pin : USB_OTG_FS_PWR_EN_Pin */
  GPIO_InitStruct.Pin = USB_OTG_FS_PWR_EN_Pin;
  GPIO_InitStruct.Mode = GPIO_MODE_OUTPUT_PP;
  GPIO_InitStruct.Pull = GPIO_NOPULL;
  GPIO_InitStruct.Speed = GPIO_SPEED_FREQ_LOW;
  HAL_GPIO_Init(USB_OTG_FS_PWR_EN_GPIO_Port, &GPIO_InitStruct);

  /*Configure GPIO pin : USB_OTG_FS_OVCR_Pin */
  GPIO_InitStruct.Pin = USB_OTG_FS_OVCR_Pin;
  GPIO_InitStruct.Mode = GPIO_MODE_IT_RISING;
  GPIO_InitStruct.Pull = GPIO_NOPULL;
  HAL_GPIO_Init(USB_OTG_FS_OVCR_GPIO_Port, &GPIO_InitStruct);

  /*Configure GPIO pins : PC8 LCD_RS_Pin LCD_DC_Pin */
  GPIO_InitStruct.Pin = GPIO_PIN_8|LCD_RS_Pin|LCD_DC_Pin;
  GPIO_InitStruct.Mode = GPIO_MODE_OUTPUT_PP;
  GPIO_InitStruct.Pull = GPIO_NOPULL;
  GPIO_InitStruct.Speed = GPIO_SPEED_FREQ_LOW;
  HAL_GPIO_Init(GPIOC, &GPIO_InitStruct);

  /*Configure GPIO pins : PA8 PA11 PA12 */
  GPIO_InitStruct.Pin = GPIO_PIN_8|GPIO_PIN_11|GPIO_PIN_12;
  GPIO_InitStruct.Mode = GPIO_MODE_AF_PP;
  GPIO_InitStruct.Pull = GPIO_NOPULL;
  GPIO_InitStruct.Speed = GPIO_SPEED_FREQ_LOW;
  GPIO_InitStruct.Alternate = GPIO_AF10_OTG1_FS;
  HAL_GPIO_Init(GPIOA, &GPIO_InitStruct);

  /*Configure GPIO pin : ROT0_DT_Pin */
  GPIO_InitStruct.Pin = ROT0_DT_Pin;
  GPIO_InitStruct.Mode = GPIO_MODE_INPUT;
  GPIO_InitStruct.Pull = GPIO_NOPULL;
  HAL_GPIO_Init(ROT0_DT_GPIO_Port, &GPIO_InitStruct);

  /*Configure GPIO pin : ROT0_CK_Pin */
  GPIO_InitStruct.Pin = ROT0_CK_Pin;
  GPIO_InitStruct.Mode = GPIO_MODE_IT_FALLING;
  GPIO_InitStruct.Pull = GPIO_NOPULL;
  HAL_GPIO_Init(ROT0_CK_GPIO_Port, &GPIO_InitStruct);

  /*Configure GPIO pins : PG11 PG13 */
  GPIO_InitStruct.Pin = GPIO_PIN_11|GPIO_PIN_13;
  GPIO_InitStruct.Mode = GPIO_MODE_AF_PP;
  GPIO_InitStruct.Pull = GPIO_NOPULL;
  GPIO_InitStruct.Speed = GPIO_SPEED_FREQ_LOW;
  GPIO_InitStruct.Alternate = GPIO_AF11_ETH;
  HAL_GPIO_Init(GPIOG, &GPIO_InitStruct);

  /*Configure GPIO pin : LD2_Pin */
  GPIO_InitStruct.Pin = LD2_Pin;
  GPIO_InitStruct.Mode = GPIO_MODE_OUTPUT_PP;
  GPIO_InitStruct.Pull = GPIO_NOPULL;
  GPIO_InitStruct.Speed = GPIO_SPEED_FREQ_LOW;
  HAL_GPIO_Init(LD2_GPIO_Port, &GPIO_InitStruct);

}

/* USER CODE BEGIN 4 */
static void EXTI_Init(void)
{
  HAL_NVIC_SetPriority(ROT0_IRQn, 2, 0);
  HAL_NVIC_EnableIRQ(ROT0_IRQn);

  HAL_NVIC_SetPriority(ROT1_IRQn, 2, 0);
  HAL_NVIC_EnableIRQ(ROT1_IRQn);
}

static void TIM_Init(void)
{
  if (HAL_TIM_OC_Start_IT(&htim1, TIM_CHANNEL_1) != HAL_OK) {
    Error_Handler();
  }
}

static volatile HAL_StatusTypeDef hal_status;
void HandleError(HAL_StatusTypeDef err, int busyOK) {
  if (err != HAL_OK) {
    HAL_GPIO_WritePin(LD3_GPIO_Port, LD3_Pin, GPIO_PIN_SET);

    hal_status = err;

    if (busyOK && err == HAL_BUSY) return;

    Error_Handler();
  }
  HAL_GPIO_WritePin(LD3_GPIO_Port, LD3_Pin, GPIO_PIN_RESET);
}
/* USER CODE END 4 */

void Error_Handler(void)
{
  /* USER CODE BEGIN Error_Handler_Debug */
  /* User can add his own implementation to report the HAL error return state */
  HAL_GPIO_WritePin(LD3_GPIO_Port, LD3_Pin, GPIO_PIN_SET);
  while(1);
  /* USER CODE END Error_Handler_Debug */
}

/************************ (C) COPYRIGHT STMicroelectronics *****END OF FILE****/
